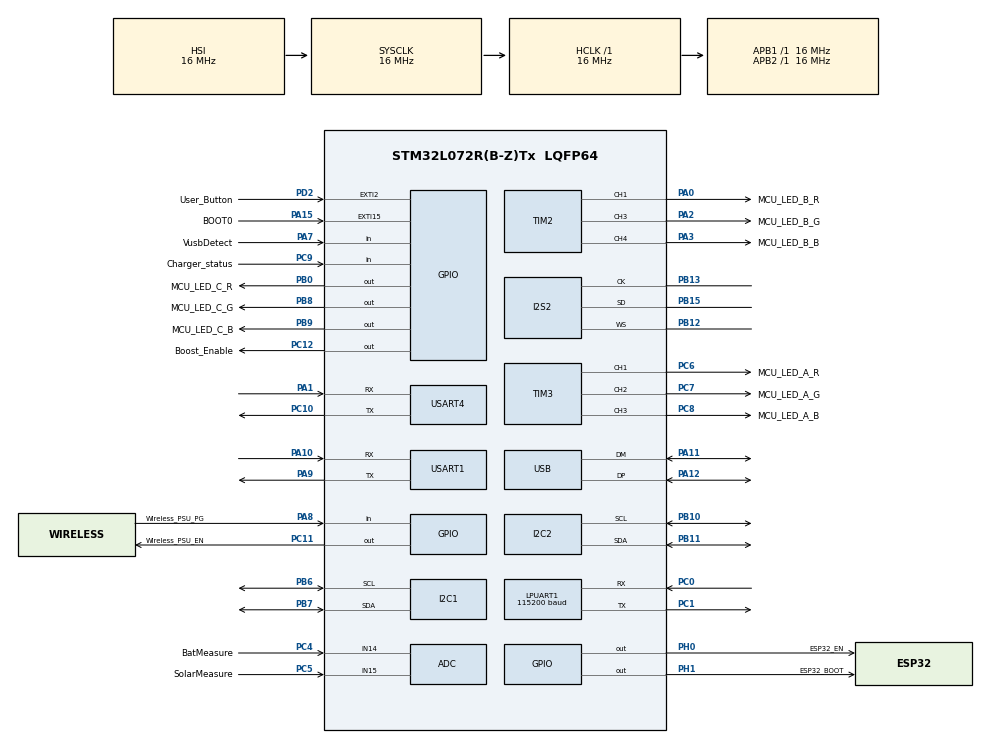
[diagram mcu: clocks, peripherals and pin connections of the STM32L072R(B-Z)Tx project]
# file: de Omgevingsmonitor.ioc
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ADC.DiscontinuousConvMode=DISABLE
ADC.SamplingTime=ADC_SAMPLETIME_160CYCLES_5
Dma.I2C1_RX.1.Direction=DMA_PERIPH_TO_MEMORY
Dma.I2C1_RX.1.Instance=DMA1_Channel3
Dma.I2C1_RX.1.MemDataAlignment=DMA_MDATAALIGN_BYTE
Dma.I2C1_RX.1.MemInc=DMA_MINC_ENABLE
Dma.I2C1_RX.1.Mode=DMA_NORMAL
Dma.I2C1_RX.1.PeriphDataAlignment=DMA_PDATAALIGN_BYTE
Dma.I2C1_RX.1.PeriphInc=DMA_PINC_DISABLE
Dma.I2C1_RX.1.Priority=DMA_PRIORITY_LOW
Dma.I2C1_TX.2.Direction=DMA_MEMORY_TO_PERIPH
Dma.I2C1_TX.2.Instance=DMA1_Channel2
Dma.I2C1_TX.2.MemDataAlignment=DMA_MDATAALIGN_BYTE
Dma.I2C1_TX.2.MemInc=DMA_MINC_ENABLE
Dma.I2C1_TX.2.Mode=DMA_NORMAL
Dma.I2C1_TX.2.PeriphDataAlignment=DMA_PDATAALIGN_BYTE
Dma.I2C1_TX.2.PeriphInc=DMA_PINC_DISABLE
Dma.I2C1_TX.2.Priority=DMA_PRIORITY_LOW
Dma.Request0=SPI2_RX
Dma.Request1=I2C1_RX
Dma.Request2=I2C1_TX
Dma.Request3=USART4_RX
Dma.Request4=USART4_TX
Dma.SPI2_RX.0.Direction=DMA_PERIPH_TO_MEMORY
Dma.SPI2_RX.0.Instance=DMA1_Channel4
Dma.SPI2_RX.0.MemDataAlignment=DMA_MDATAALIGN_HALFWORD
Dma.SPI2_RX.0.MemInc=DMA_MINC_ENABLE
Dma.SPI2_RX.0.Mode=DMA_CIRCULAR
Dma.SPI2_RX.0.PeriphDataAlignment=DMA_PDATAALIGN_HALFWORD
Dma.SPI2_RX.0.PeriphInc=DMA_PINC_DISABLE
Dma.SPI2_RX.0.Priority=DMA_PRIORITY_LOW
Dma.USART4_RX.3.Direction=DMA_PERIPH_TO_MEMORY
Dma.USART4_RX.3.Instance=DMA1_Channel6
Dma.USART4_RX.3.MemDataAlignment=DMA_MDATAALIGN_BYTE
Dma.USART4_RX.3.MemInc=DMA_MINC_ENABLE
Dma.USART4_RX.3.Mode=DMA_CIRCULAR
Dma.USART4_RX.3.PeriphDataAlignment=DMA_PDATAALIGN_BYTE
Dma.USART4_RX.3.PeriphInc=DMA_PINC_DISABLE
Dma.USART4_RX.3.Priority=DMA_PRIORITY_LOW
Dma.USART4_TX.4.Direction=DMA_MEMORY_TO_PERIPH
Dma.USART4_TX.4.Instance=DMA1_Channel7
Dma.USART4_TX.4.MemDataAlignment=DMA_MDATAALIGN_BYTE
Dma.USART4_TX.4.MemInc=DMA_MINC_ENABLE
Dma.USART4_TX.4.Mode=DMA_NORMAL
Dma.USART4_TX.4.PeriphDataAlignment=DMA_PDATAALIGN_BYTE
Dma.USART4_TX.4.PeriphInc=DMA_PINC_DISABLE
Dma.USART4_TX.4.Priority=DMA_PRIORITY_LOW
I2C1.Timing=0x00503D58
I2C2.Timing=0x00503D58
I2S2.AudioFreq=I2S_AUDIOFREQ_16K
I2S2.CPOL=I2S_CPOL_LOW
I2S2.DataFormat=I2S_DATAFORMAT_24B
I2S2.ErrorAudioFreq=-2.34 %
I2S2.Instance=SPI$Index
I2S2.Mode=I2S_MODE_MASTER_RX
I2S2.RealAudioFreq=15.625 KHz
I2S2.Standard=I2S_STANDARD_PHILIPS
I2S2.VirtualMode=I2S_MODE_MASTER
IWDG.Prescaler=IWDG_PRESCALER_256
LPUART1.BaudRate=115200
LPUART1.OverrunDisableParam=UART_ADVFEATURE_OVERRUN_DISABLE
LPUART1.SwapParam=UART_ADVFEATURE_SWAP_ENABLE
LPUART1.WordLength=UART_WORDLENGTH_8B
Mcu.Family=STM32L0
Mcu.Name=STM32L072R(B-Z)Tx
Mcu.Package=LQFP64
NVIC.DMA1_Channel2_3_IRQn=true\:0\:0\:false\:false\:true\:false\:true\:true
NVIC.DMA1_Channel4_5_6_7_IRQn=true\:3\:0\:true\:false\:true\:false\:true\:true
NVIC.EXTI2_3_IRQn=true\:0\:0\:false\:false\:true\:true\:true\:true
NVIC.EXTI4_15_IRQn=true\:0\:0\:false\:false\:true\:true\:true\:true
NVIC.I2C1_IRQn=true\:0\:0\:false\:false\:true\:true\:true\:true
NVIC.RTC_IRQn=true\:0\:0\:false\:false\:true\:true\:true\:true
NVIC.USART1_IRQn=true\:0\:0\:false\:false\:true\:true\:true\:true
NVIC.USART4_5_IRQn=true\:0\:0\:false\:false\:true\:true\:true\:true
NVIC.USB_IRQn=true\:0\:0\:false\:false\:true\:false\:true\:true
PA0.GPIO_Label=MCU_LED_B_R
PA0.Signal=S_TIM2_CH1
PA1.Mode=Asynchronous
PA1.Signal=USART4_RX
PA10.Mode=Asynchronous
PA10.Signal=USART1_RX
PA11.Mode=Device
PA11.Signal=USB_DM
PA12.Mode=Device
PA12.Signal=USB_DP
PA13.Mode=Serial_Wire
PA13.Signal=SYS_SWDIO
PA14.Mode=Serial_Wire
PA14.Signal=SYS_SWCLK
PA15.GPIO_Label=BOOT0
PA15.Signal=GPXTI15
PA2.GPIO_Label=MCU_LED_B_G
PA2.Signal=S_TIM2_CH3
PA3.GPIO_Label=MCU_LED_B_B
PA3.Signal=S_TIM2_CH4
PA7.GPIO_Label=VusbDetect
PA7.Signal=GPIO_Input
PA8.GPIO_Label=Wireless_PSU_PG
PA8.Signal=GPIO_Input
PA9.Mode=Asynchronous
PA9.Signal=USART1_TX
PB0.GPIO_Label=MCU_LED_C_R
PB0.PinState=GPIO_PIN_SET
PB0.Signal=GPIO_Output
PB10.Mode=I2C
PB10.Signal=I2C2_SCL
PB11.Mode=I2C
PB11.Signal=I2C2_SDA
PB12.Mode=Half_Duplex_Master
PB12.Signal=I2S2_WS
PB13.Mode=Half_Duplex_Master
PB13.Signal=I2S2_CK
PB15.Mode=Half_Duplex_Master
PB15.Signal=I2S2_SD
PB6.Mode=I2C
PB6.Signal=I2C1_SCL
PB7.Mode=I2C
PB7.Signal=I2C1_SDA
PB8.GPIO_Label=MCU_LED_C_G
PB8.PinState=GPIO_PIN_SET
PB8.Signal=GPIO_Output
PB9.GPIO_Label=MCU_LED_C_B
PB9.PinState=GPIO_PIN_SET
PB9.Signal=GPIO_Output
PC0.Mode=Asynchronous
PC0.Signal=LPUART1_RX
PC1.Mode=Asynchronous
PC1.Signal=LPUART1_TX
PC10.Mode=Asynchronous
PC10.Signal=USART4_TX
PC11.GPIO_Label=Wireless_PSU_EN
PC11.PinState=GPIO_PIN_SET
PC11.Signal=GPIO_Output
PC12.GPIO_Label=Boost_Enable
PC12.Signal=GPIO_Output
PC14-OSC32_IN.Mode=LSE-External-Oscillator
PC14-OSC32_IN.Signal=RCC_OSC32_IN
PC15-OSC32_OUT.Mode=LSE-External-Oscillator
PC15-OSC32_OUT.Signal=RCC_OSC32_OUT
PC4.GPIO_Label=BatMeasure
PC4.Signal=SharedAnalog_PC4
PC5.GPIO_Label=SolarMeasure
PC5.Signal=SharedAnalog_PC5
PC6.GPIO_Label=MCU_LED_A_R
PC6.Signal=S_TIM3_CH1
PC7.GPIO_Label=MCU_LED_A_G
PC7.Signal=S_TIM3_CH2
PC8.GPIO_Label=MCU_LED_A_B
PC8.Signal=S_TIM3_CH3
PC9.GPIO_Label=Charger_status
PC9.Signal=GPIO_Input
PD2.GPIO_Label=User_Button
PD2.GPIO_ModeDefaultEXTI=GPIO_MODE_IT_FALLING
PD2.GPIO_PuPd=GPIO_PULLUP
PD2.Signal=GPXTI2
PH0-OSC_IN.GPIO_Label=ESP32_EN
PH0-OSC_IN.PinState=GPIO_PIN_SET
PH0-OSC_IN.Signal=GPIO_Output
PH1-OSC_OUT.GPIO_Label=ESP32_BOOT
PH1-OSC_OUT.Signal=GPIO_Output
ProjectManager.HeapSize=0x100
ProjectManager.StackSize=0x400
ProjectManager.TargetToolchain=CMake
RCC.ADCFreq_Value=16000000
RCC.AHBFreq_Value=16000000
RCC.APB1Freq_Value=16000000
RCC.APB1TimFreq_Value=16000000
RCC.APB2Freq_Value=16000000
RCC.APB2TimFreq_Value=16000000
RCC.HCLKFreq_Value=16000000
RCC.HSE_VALUE=8000000
RCC.HSI16_VALUE=16000000
RCC.HSI48MClockSelection=RCC_USBCLKSOURCE_HSI48
RCC.HSI48_VALUE=48000000
RCC.HSI_VALUE=16000000
RCC.LSE_Drive_Capability=RCC_LSEDRIVE_MEDIUMHIGH
RCC.MSI_VALUE=2097000
RCC.RTCClockSelection=RCC_RTCCLKSOURCE_LSE
RCC.RTCClockSelectionVirtual=RCC_RTCCLKSOURCE_LSE
RCC.SYSCLKFreq_VALUE=16000000
RCC.SYSCLKSource=RCC_SYSCLKSOURCE_HSI
RCC.VCOOutputFreq_Value=48000000
RTC.Date=23
RTC.Format=RTC_FORMAT_BIN
RTC.Hours=13
RTC.Month=RTC_MONTH_NOVEMBER
RTC.WeekDay=RTC_WEEKDAY_SATURDAY
RTC.Year=24
SH.S_TIM2_CH1.0=TIM2_CH1,PWM Generation1 CH1
SH.S_TIM2_CH3.0=TIM2_CH3,PWM Generation3 CH3
SH.S_TIM2_CH4.0=TIM2_CH4,PWM Generation4 CH4
SH.S_TIM3_CH1.0=TIM3_CH1,PWM Generation1 CH1
SH.S_TIM3_CH2.0=TIM3_CH2,PWM Generation2 CH2
SH.S_TIM3_CH3.0=TIM3_CH3,PWM Generation3 CH3
SH.SharedAnalog_PC4.0=GPIO_Analog
SH.SharedAnalog_PC4.1=ADC_IN14,IN14
SH.SharedAnalog_PC5.0=GPIO_Analog
SH.SharedAnalog_PC5.1=ADC_IN15,IN15
TIM2.Channel-PWM\ Generation1\ CH1=TIM_CHANNEL_1
TIM2.Channel-PWM\ Generation3\ CH3=TIM_CHANNEL_3
TIM2.Channel-PWM\ Generation4\ CH4=TIM_CHANNEL_4
TIM3.Channel-PWM\ Generation1\ CH1=TIM_CHANNEL_1
TIM3.Channel-PWM\ Generation2\ CH2=TIM_CHANNEL_2
TIM3.Channel-PWM\ Generation3\ CH3=TIM_CHANNEL_3
TIM6.Prescaler=10
USART1.SwapParam=ADVFEATURE_SWAP_DISABLE
USART1.VirtualMode-Asynchronous=VM_ASYNC
USART4.SwapParam=ADVFEATURE_SWAP_DISABLE
USART4.VirtualMode-Asynchronous=VM_ASYNC
USB_DEVICE.CLASS_NAME_FS=CDC
USB_DEVICE.VirtualMode=Cdc
USB_DEVICE.VirtualModeFS=Cdc_FS
VP_IWDG_VS_IWDG.Mode=IWDG_Activate
VP_RTC_VS_RTC_Activate.Mode=RTC_Enabled
VP_RTC_VS_RTC_Calendar.Mode=RTC_Calendar
VP_RTC_VS_RTC_WakeUp_intern.Mode=WakeUp
VP_TIM6_VS_ClockSourceINT.Mode=Enable_Timer
VP_USB_DEVICE_VS_USB_DEVICE_CDC_FS.Mode=CDC_FS
board=custom

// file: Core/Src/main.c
/* USER CODE BEGIN Header */
/**
 ******************************************************************************
 * @file           : main.c
 * @brief          : Main program body
 ******************************************************************************
 * @attention
 *
 * Copyright (c) 2024 STMicroelectronics.
 * All rights reserved.
 *
 * This software is licensed under terms that can be found in the LICENSE file
 * in the root directory of this software component.
 * If no LICENSE file comes with this software, it is provided AS-IS.
 *
 ******************************************************************************
 */
/* USER CODE END Header */
#include "main.h"
#include "adc.h"
#include "dma.h"
#include "i2c.h"
#include "i2s.h"
#include "iwdg.h"
#include "usart.h"
#include "rtc.h"
#include "tim.h"
#include "usb_device.h"
#include "gpio.h"

/* USER CODE BEGIN Includes */
#include "microphone.h"
#include "I2CSensors.h"
#include "utils.h"
#include "measurement.h"
#include "globals.h"
#include "ESP.h"
#include "PowerUtils.h"
#include "usbd_cdc_if.h"
#include "statusCheck.h"
#include "RealTimeClock.h"
#include "sound_measurement.h"
#include "print_functions.h"
#include "sen5x.h"
#include "setLED.h"
#include "sgp40.h"
#include "wsenHIDS.h"

/* USER CODE END Includes */

/* USER CODE BEGIN PTD */
typedef enum {
    GADGET_BATTERY_CHECK,
    GADGET_START_MEASUREMENTS,
    GADGET_CHECK_MEASUREMENTS_DONE,
    GADGET_CONFIG_MODE,
    GADGET_SEND_MEASUREMENTS,
    GADGET_GO_TO_SLEEP,
    GADGET_REINIT_UART,
}gadgetState;

/* USER CODE END PTD */

/* USER CODE BEGIN PD */

// Sleep intervals (seconds). USB sends every 5 min; battery every 15/30 min.
#define SLEEP_USB           300   // 5 minutes — USB powered
#define SLEEP_BATTERY_GOOD  900   // 15 minutes — battery >= 3.7 V
#define SLEEP_BATTERY_LOW  1800   // 30 minutes — battery 3.5–3.7 V
#define SLEEP_BATTERY_CRIT  600   // 10 minutes — battery critical (very low activity)

// Hard deadline for the entire send phase (ESP32 boot + WiFi + MQTT).
// 90 s on battery, 120 s on USB (warm connection more likely on USB).
#define SEND_TIMEOUT_BATTERY_MS  90000
#define SEND_TIMEOUT_USB_MS     120000

/* USER CODE END PD */

/* USER CODE BEGIN PV */
bool ESP_Programming = false;
static bool priorUSBpluggedIn = false;

uint8_t u1_rx_buff[16];                        // rxbuffer for serial logger
uint8_t RxData[UART_CDC_DMABUFFERSIZE] = {0};  // rx buffer for USB
uint16_t IndexRxData = 0;
uint32_t LastRxTime  = 0;
uint16_t size        = 0;

extern DMA_HandleTypeDef hdma_spi2_rx;

ESPHandler espHandle = {
    .done          = false,
    .ready         = false,
    .resume        = false,
    .startSend     = false,
    .connectionMade = false,
    .configAP      = false,
    .mode          = ESP_PROGRAM_INIT
};
/* USER CODE END PV */

void SystemClock_Config(void);
/* USER CODE BEGIN PFP */

void petDog(){
  if (HAL_IWDG_Refresh(&hiwdg) != HAL_OK)
    {
      Error_Handler();
    }
}

void ESP_Programming_Read_Remaining_DMA()
{
    // ESP programmer section

    if (LastRxTime != 0 && ESP_Programming)
    {
        if ((LastRxTime + 100) < HAL_GetTick()) // 120
        {
            HAL_UART_DMAPause(&hlpuart1);
            size = __HAL_DMA_GET_COUNTER(hlpuart1.hdmarx);
            if (size > (UART_CDC_DMABUFFERSIZE / 2))
            {
                size = UART_CDC_DMABUFFERSIZE - size;
            }
            else
            {
                size = (UART_CDC_DMABUFFERSIZE / 2) - size;
            }
            if (size > 0)
            {
                CDC_Transmit_FS(&RxData[IndexRxData], size);
                LastRxTime = 0;
                IndexRxData += size;
            }
            HAL_UART_DMAResume(&hlpuart1);
        }
    }
}

/* USER CODE END PFP */

int main(void)
{

  /* MCU Configuration--------------------------------------------------------*/

  /* Reset of all peripherals, Initializes the Flash interface and the Systick. */
  HAL_Init();

  /* Configure the system clock */
  SystemClock_Config();

  /* Initialize all configured peripherals */
  MX_GPIO_Init();
  MX_DMA_Init();
  MX_I2C1_Init();
  MX_I2S2_Init();
  MX_USART1_UART_Init();
  MX_I2C2_Init();
  MX_TIM2_Init();
  MX_TIM3_Init();
  MX_USART4_UART_Init();
  MX_ADC_Init();
  MX_USB_DEVICE_Init();
  MX_RTC_Init();
  MX_LPUART1_UART_Init();
  MX_TIM6_Init();
  MX_IWDG_Init();
  /* USER CODE BEGIN 2 */
    /*
     * === Boot sequence ===
     *
     * 1. Peripheral init (HAL-generated above).
     * 2. GPIO_InitPWMLEDs — configure PWM channels for the three RGB LEDs.
     * 3. If BOOT0 is held: enter ESP32 passthrough programming mode (UART ↔ USB).
     * 4. soundInit — configure I2S DMA for the microphone.
     * 5. Device_Init — initialise I2C bus and all connected sensors.
     * 6. initESPHandler / initUart — prepare ESP32 driver state.
     *
     * === Main loop states ===
     *
     * BATTERY_CHECK        Read battery and solar voltage; select sleep interval.
     * START_MEASUREMENTS   Reset sensor state; kick off measurement upkeep.
     * CHECK_MEASUREMENTS_DONE  Poll sensors every loop tick until all are done
     *                          (or 45 s timeout elapses).
     * SEND_MEASUREMENTS    Drive ESP_Upkeep() until done=true or send timeout.
     * GO_TO_SLEEP          Power down ESP32, deinit UART, enter STOP mode.
     * REINIT_UART          Re-init UART after wake; loop back to BATTERY_CHECK.
     */

    GPIO_InitPWMLEDs(&htim2, &htim3);
    if (UserButton_Pressed()) {
        EnableESPProg();
        ESP_Programming = true;
    }
    SetVerboseLevel(VERBOSE_ALL);
    BinaryReleaseInfo();
    HAL_UART_Receive_IT(&huart1, u1_rx_buff, 1);
    InitClock(&hrtc);

    if (!soundInit(&hdma_spi2_rx, &hi2s2, &htim6, DMA1_Channel4_5_6_7_IRQn)) {
        errorHandler(__func__, __LINE__, __FILE__);
    }
    Device_Init(&hi2c1, &hi2s2, &hadc);
    priorUSBpluggedIn = !Check_USB_PowerOn();
    initESPHandler(&espHandle);
    initUart(&huart4);

  /* USER CODE END 2 */

  /* Infinite loop */
  /* USER CODE BEGIN WHILE */
    while (1)
    {
        static gadgetState    state       = GADGET_BATTERY_CHECK;
        static uint16_t       sleepTime   = SLEEP_BATTERY_GOOD;
        static Battery_Status lastCharge  = BATTERY_GOOD;

        // Long-press user button → enter AP config mode
        if (processButtonPressed() && state != GADGET_CONFIG_MODE) {
            Debug("User button: entering AP config mode");
            espHandle.mode     = ESP_PROGRAM_CONFIG_AP;
            espHandle.configAP = true;
            state = GADGET_CONFIG_MODE;
        }

        petDog();

        switch (state) {

        // ── Check battery / select sleep interval ─────────────────────────────
        case GADGET_BATTERY_CHECK:
            lastCharge = Battery_Upkeep();
            switch (lastCharge) {
            case USB_PLUGGED_IN:
                sleepTime = SLEEP_USB;
                state = GADGET_START_MEASUREMENTS;
                break;
            case BATTERY_GOOD:
                sleepTime = SLEEP_BATTERY_GOOD;
                state = GADGET_START_MEASUREMENTS;
                break;
            case BATTERY_LOW:
                sleepTime = SLEEP_BATTERY_LOW;
                state = GADGET_START_MEASUREMENTS;
                break;
            case BATTERY_CRITICAL:
                sleepTime = SLEEP_BATTERY_CRIT;
                state = GADGET_GO_TO_SLEEP;
                break;
            }
            break;

        // ── Start all sensor measurements ────────────────────────────────────
        case GADGET_START_MEASUREMENTS:
            measurementReset();
            measurementUpkeep();
            state = GADGET_CHECK_MEASUREMENTS_DONE;
            break;

        // ── Poll until all sensors are done (timeout handled inside upkeep) ──
        case GADGET_CHECK_MEASUREMENTS_DONE:
            if (measurementUpkeep()) {
                uint32_t timeout = (lastCharge == USB_PLUGGED_IN)
                                 ? SEND_TIMEOUT_USB_MS
                                 : SEND_TIMEOUT_BATTERY_MS;
                espHandle.startSend    = true;
                espHandle.timeOutStamp = HAL_GetTick() + timeout;
                state = GADGET_SEND_MEASUREMENTS;
            }
            break;

        // ── Drive ESP_Upkeep until done or timeout ───────────────────────────
        case GADGET_SEND_MEASUREMENTS:
            ESP_Upkeep();
            HAL_GPIO_WritePin(MCU_LED_C_B_GPIO_Port, MCU_LED_C_B_Pin, false);

            if (espHandle.done) {
                espHandle.startSend = false;
                state = GADGET_GO_TO_SLEEP;
            } else if (TimestampIsReached(espHandle.timeOutStamp)) {
                Error("Send timeout — going to sleep");
                HAL_GPIO_WritePin(MCU_LED_C_R_GPIO_Port, MCU_LED_C_R_Pin, false);
                HAL_Delay(500);
                HAL_GPIO_WritePin(MCU_LED_C_R_GPIO_Port, MCU_LED_C_R_Pin, true);
                espHandle.startSend = false;
                state = GADGET_GO_TO_SLEEP;
            }
            break;

        // ── AP config mode: blink LED, process USB config commands ───────────
        case GADGET_CONFIG_MODE:
            ESP_Upkeep();
            HAL_GPIO_WritePin(MCU_LED_C_R_GPIO_Port, MCU_LED_C_R_Pin, true);
            HAL_Delay(200);
            HAL_GPIO_WritePin(MCU_LED_C_R_GPIO_Port, MCU_LED_C_R_Pin, false);
            HAL_Delay(200);
            break;

        // ── Power down and enter STOP mode ───────────────────────────────────
        case GADGET_GO_TO_SLEEP:
            DisableESP();
            HAL_UART_DeInit(&huart4);
            espHandle.done = false;
            LEDSOff();
            Debug("Sleeping for %u s", sleepTime);
            watchdogStopMode(sleepTime);
            state = GADGET_REINIT_UART;
            break;

        // ── Re-init UART after wake, then repeat ─────────────────────────────
        case GADGET_REINIT_UART:
            MX_USART4_UART_Init();
            initUart(&huart4);
            measurementReset();
            state = GADGET_BATTERY_CHECK;
            break;
        }

    /* USER CODE END WHILE */

    }
}

void SystemClock_Config(void)
{
  RCC_OscInitTypeDef RCC_OscInitStruct = {0};
  RCC_ClkInitTypeDef RCC_ClkInitStruct = {0};
  RCC_PeriphCLKInitTypeDef PeriphClkInit = {0};

  /** Configure the main internal regulator output voltage
  */
  __HAL_PWR_VOLTAGESCALING_CONFIG(PWR_REGULATOR_VOLTAGE_SCALE1);

  /** Configure LSE Drive Capability
  */
  HAL_PWR_EnableBkUpAccess();
  __HAL_RCC_LSEDRIVE_CONFIG(RCC_LSEDRIVE_MEDIUMHIGH);

  /** Initializes the RCC Oscillators according to the specified parameters
  * in the RCC_OscInitTypeDef structure.
  */
  RCC_OscInitStruct.OscillatorType = RCC_OSCILLATORTYPE_HSI|RCC_OSCILLATORTYPE_LSI
                              |RCC_OSCILLATORTYPE_LSE|RCC_OSCILLATORTYPE_HSI48;
  RCC_OscInitStruct.LSEState = RCC_LSE_ON;
  RCC_OscInitStruct.HSIState = RCC_HSI_ON;
  RCC_OscInitStruct.HSICalibrationValue = RCC_HSICALIBRATION_DEFAULT;
  RCC_OscInitStruct.LSIState = RCC_LSI_ON;
  RCC_OscInitStruct.HSI48State = RCC_HSI48_ON;
  RCC_OscInitStruct.PLL.PLLState = RCC_PLL_NONE;
  if (HAL_RCC_OscConfig(&RCC_OscInitStruct) != HAL_OK)
  {
    Error_Handler();
  }

  /** Initializes the CPU, AHB and APB buses clocks
  */
  RCC_ClkInitStruct.ClockType = RCC_CLOCKTYPE_HCLK|RCC_CLOCKTYPE_SYSCLK
                              |RCC_CLOCKTYPE_PCLK1|RCC_CLOCKTYPE_PCLK2;
  RCC_ClkInitStruct.SYSCLKSource = RCC_SYSCLKSOURCE_HSI;
  RCC_ClkInitStruct.AHBCLKDivider = RCC_SYSCLK_DIV1;
  RCC_ClkInitStruct.APB1CLKDivider = RCC_HCLK_DIV1;
  RCC_ClkInitStruct.APB2CLKDivider = RCC_HCLK_DIV1;

  if (HAL_RCC_ClockConfig(&RCC_ClkInitStruct, FLASH_LATENCY_0) != HAL_OK)
  {
    Error_Handler();
  }
  PeriphClkInit.PeriphClockSelection = RCC_PERIPHCLK_USART1|RCC_PERIPHCLK_LPUART1
                              |RCC_PERIPHCLK_I2C1|RCC_PERIPHCLK_RTC
                              |RCC_PERIPHCLK_USB;
  PeriphClkInit.Usart1ClockSelection = RCC_USART1CLKSOURCE_PCLK2;
  PeriphClkInit.Lpuart1ClockSelection = RCC_LPUART1CLKSOURCE_PCLK1;
  PeriphClkInit.I2c1ClockSelection = RCC_I2C1CLKSOURCE_PCLK1;
  PeriphClkInit.RTCClockSelection = RCC_RTCCLKSOURCE_LSE;
  PeriphClkInit.UsbClockSelection = RCC_USBCLKSOURCE_HSI48;
  if (HAL_RCCEx_PeriphCLKConfig(&PeriphClkInit) != HAL_OK)
  {
    Error_Handler();
  }
}

/* USER CODE BEGIN 4 */
// Provide a print interface for print_functions.
void printString(const char *str, uint16_t length)
{
    HAL_UART_Transmit(&huart1, (uint8_t *)str, length, 0xFFFF);
}

/* USER CODE END 4 */

void Error_Handler(void)
{
  /* USER CODE BEGIN Error_Handler_Debug */
    /* User can add his own implementation to report the HAL error return state */
    __disable_irq();
    while (1)
    {
        NVIC_SystemReset();
    }
  /* USER CODE END Error_Handler_Debug */
}
